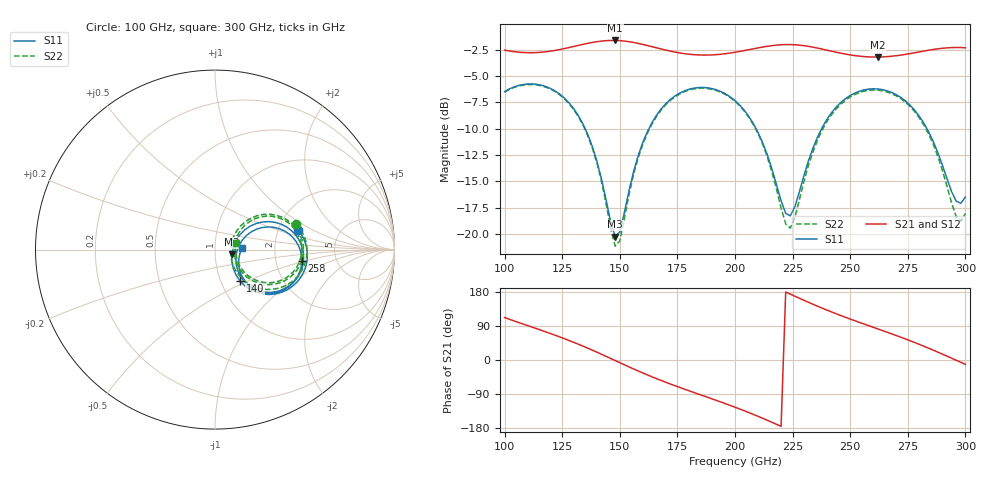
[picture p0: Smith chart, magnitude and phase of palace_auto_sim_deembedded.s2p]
! Created with skrf 1.11.0 (http://scikit-rf.org).
# GHz S DB R 50.0
!freq dBS11 angS11 dBS21 angS21 dBS12 angS12 dBS22 angS22
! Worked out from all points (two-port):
!   101 points, 100 GHz to 300 GHz, reference 50 ohm
!   highest |S21| = -1.61 dB at 148 GHz (marker M1); lowest = -3.2 dB at 262 GHz (marker M2)
!   |S21| within 3 dB of the highest: start of sweep to end of sweep
!   lowest |S11| = -20.2 dB at 148 GHz (marker M3), VSWR 1.22, Z = 60.3 - j3.14 ohm
!   |S11| at or under -10 dB: 135 GHz to 162.6 GHz (27.64 GHz wide, 18.6 % of centre); 209.2 GHz to 237.6 GHz (28.42 GHz wide, 12.7 % of centre); 283.3 GHz to end of sweep
!   |S22| runs from -21.1 to -5.8 dB; largest |S21 - S12| = 9.5e-14
!   S11 on the Smith chart (normalised r, x): 100 GHz: 2.56, +0.73; 140 GHz: 1.23, -0.45; 258 GHz: 2.82, -0.47; 300 GHz: 1.35, +0.02
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100  -6.47 13.5  -2.53 112.0  -2.53 112.0  -6.52 17.9
116  -5.86 -14.7  -2.73 78.2  -2.73 78.2  -5.92 -9.9
126  -7.09 -32.5  -2.38 56.1  -2.38 56.1  -7.16 -27.5
134  -9.54 -45.8  -1.98 36.6  -1.98 36.6  -9.64 -41.1
140  -13.03 -51.4  -1.73 20.8  -1.73 20.8  -13.21 -47.2
148  -20.24 -15.4  -1.61 -1.5  -1.61 -1.5  -21.15 -10.0
150  -19.79 7.4  -1.63 -7.1  -1.63 -7.1  -20.65 15.8
158  -12.54 33.7  -1.89 -29.0  -1.89 -29.0  -12.74 42.7
168  -8.10 21.2  -2.42 -54.1  -2.42 -54.1  -8.21 29.6
184  -6.09 -5.8  -2.98 -89.7  -2.98 -89.7  -6.16 2.6
200  -7.33 -32.0  -2.73 -124.6  -2.73 -124.6  -7.39 -23.8
210  -10.35 -45.5  -2.32 -148.7  -2.32 -148.7  -10.46 -38.1
224  -18.27 -5.6  -2.00 173.8  -2.00 173.8  -19.44 3.9
234  -11.74 26.2  -2.25 146.7  -2.25 146.7  -12.07 39.0
244  -7.92 14.9  -2.73 121.9  -2.73 121.9  -8.09 26.9
258  -6.23 -7.5  -3.17 90.6  -3.17 90.6  -6.35 4.0
262  -6.22 -14.0  -3.18 82.0  -3.18 82.0  -6.33 -2.7
268  -6.55 -23.6  -3.11 69.0  -3.11 69.0  -6.66 -12.5
280  -8.81 -41.3  -2.70 41.2  -2.70 41.2  -8.96 -31.3
288  -12.24 -46.4  -2.41 20.9  -2.41 20.9  -12.60 -38.2
296  -16.87 -22.9  -2.28 -0.6  -2.28 -0.6  -18.33 -14.5
300  -16.48 2.5  -2.31 -11.5  -2.31 -11.5  -18.05 17.6
